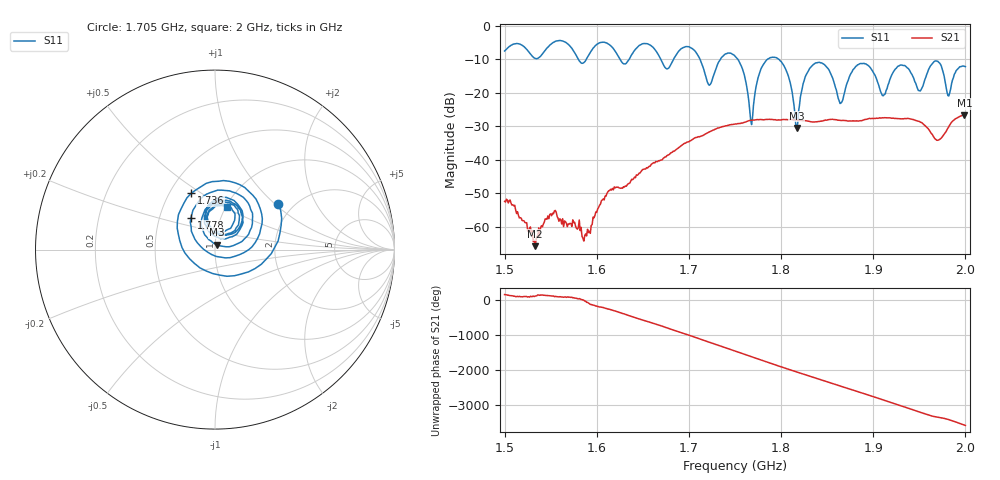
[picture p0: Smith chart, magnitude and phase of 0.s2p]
! NanoVNA-App by SYSJOINT et al v1.1.209 (+OD18)
! Date: 2026-01-21 14:39:59
! Start: 1,5GHz Stop: 2GHz Points: 501
! S-Parameter data: F S11 S21 S12 S22
# Hz S RI R 50
!  Frequency  S11_Real  S11_Imag  S21_Real  S21_Imag  S12_Real  S12_Imag  S22_Real  S22_Imag
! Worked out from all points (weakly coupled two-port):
!   501 points, 1.5 GHz to 2 GHz, reference 50 ohm
!   highest |S21| = -26.73 dB at 1.999 GHz (marker M1); lowest = -65.7 dB at 1.533 GHz (marker M2)
!   lowest |S11| = -30.5 dB at 1.817 GHz (marker M3), VSWR 1.06, Z = 50.9 + j2.88 ohm
!   |S11| at or under -10 dB: 1.712 GHz to 1.734 GHz (22.42 MHz wide, 1.3 % of centre); 1.753 GHz to 1.786 GHz (32.72 MHz wide, 1.85 % of centre); 1.797 GHz to end of sweep (the widest 3 of 6)
!   S12 and S22 are empty: the file has one direction only
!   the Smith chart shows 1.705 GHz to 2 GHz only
!   S11 on the Smith chart (normalised r, x): 1.705 GHz: 1.68, +1.06; 1.736 GHz: 0.64, +0.46; 1.778 GHz: 0.72, +0.27; 2 GHz: 1.02, +0.51
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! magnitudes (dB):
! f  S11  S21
! 1.5 GHz  -7.6  -52.4
! 1.533 GHz  -9.8  -65.7
! 1.554 GHz  -4.9  -55.2
! 1.584 GHz  -11.3  -62.8
! 1.667 GHz  -8.8  -40.3
! 1.705 GHz  -7.2  -33.7
! 1.722 GHz  -17.8  -31.7
! 1.736 GHz  -9.4  -30.1
! 1.75 GHz  -9.1  -29.4
! 1.768 GHz  -29.5  -28.2
! 1.778 GHz  -13.0  -28.0
! 1.801 GHz  -11.1  -28.1
! 1.817 GHz  -30.5  -28.2
! 1.834 GHz  -11.9  -28.7
! 1.865 GHz  -23.1  -28.3
! 1.885 GHz  -11.4  -28.4
! 1.917 GHz  -17.1  -27.5
! 1.951 GHz  -19.5  -28.8
! 1.97 GHz  -10.6  -34.2
! 1.982 GHz  -21.0  -30.2
! 1.999 GHz  -12.2  -26.7
! 2 GHz  -12.3  -26.8
